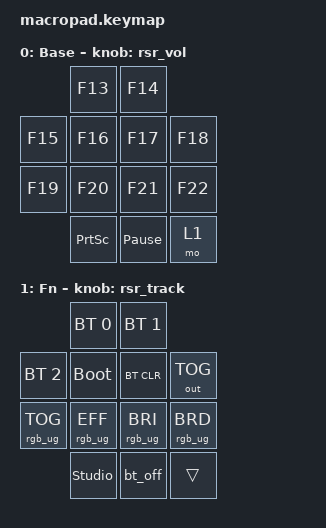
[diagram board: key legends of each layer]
#include <behaviors.dtsi>
#include <behaviors/runtime_macro.dtsi>
#include <behaviors/runtime-sensor-rotate.dtsi>
#include <behaviors/via_macro.dtsi>
#include <behaviors/lightbar_mode.dtsi>
#include <dt-bindings/zmk/keys.h>
#include <dt-bindings/zmk/bt.h>
#include <dt-bindings/zmk/outputs.h>
#include <dt-bindings/zmk/rgb.h>

// Named so the configurator can find it and offer scrolling on the knob.
&msc {
    display-name = "Mouse Scroll";
};

/ {
    behaviors {
        // Encoder defaults; each layer can be overridden at runtime.
        rsr_vol: rsr_vol {
            compatible = "zmk,behavior-runtime-sensor-rotate";
            #sensor-binding-cells = <0>;
            tap-ms = <5>;
            cw-binding = <&kp C_VOL_UP>;
            ccw-binding = <&kp C_VOL_DN>;
        };

        rsr_track: rsr_track {
            compatible = "zmk,behavior-runtime-sensor-rotate";
            #sensor-binding-cells = <0>;
            tap-ms = <5>;
            cw-binding = <&kp C_NEXT>;
            ccw-binding = <&kp C_PREV>;
        };
    };

    macros {
        // Leaves the PC disconnected: the active profile always reconnects, so move to
        // spare profile 2 first, then drop profile 0. Fn + BT_SEL 0 reconnects.
        bt_off: bt_off {
            compatible = "zmk,behavior-macro";
            #binding-cells = <0>;
            display-name = "Bluetooth Off";
            wait-ms = <30>;
            bindings = <&bt BT_SEL 2>, <&bt BT_DISC 0>;
        };
    };

    keymap {
        compatible = "zmk,keymap";

        base_layer {
            display-name = "Base";
            bindings = <
                         &kp F13  &kp F14
                &kp F15  &kp F16  &kp F17  &kp F18
                &kp F19  &kp F20  &kp F21  &kp F22
                         &kp PSCRN  &kp PAUSE_BREAK  &mo 1
            >;
            sensor-bindings = <&rsr_vol>;
        };

        fn_layer {
            display-name = "Fn";
            bindings = <
                            &bt BT_SEL 0  &bt BT_SEL 1
                &bt BT_SEL 2  &bootloader   &bt BT_CLR   &out OUT_TOG
                &rgb_ug RGB_TOG  &rgb_ug RGB_EFF  &rgb_ug RGB_BRI  &rgb_ug RGB_BRD
                              &studio_unlock  &bt_off  &trans
            >;
            sensor-bindings = <&rsr_track>;
        };
    };
};
